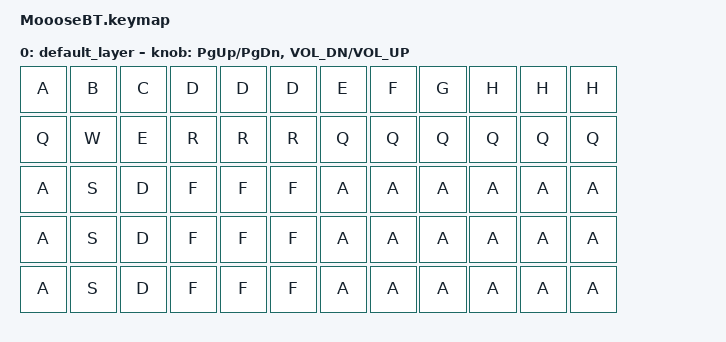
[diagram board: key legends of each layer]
#include <behaviors.dtsi>
#include <dt-bindings/zmk/bt.h>
#include <dt-bindings/zmk/keys.h>
#include <dt-bindings/zmk/mouse.h>
#include <behaviors/rgbled_widget.dtsi>

// Leyer
// #define ARROW 1
// #define NUM 2
// #define FUNCTION 3
// #define AHK 4
// #define SCROLL 5
// #define layer_6 6

// Japanese
#define JP_MINUS MINUS        // -
#define JP_CARET EQUAL        // ^
#define JP_YEN   INT3         // ¥
#define JP_AT    LBKT         // @
#define JP_LBKT  RBKT         // [
#define JP_EISU  CAPS         // Eisū (英数)
#define JP_SEMI  SEMI         // ;
#define JP_COLON SQT          // :
#define JP_RBKT  NUHS         // ]
#define JP_COMMA COMMA        // ,
#define JP_DOT   DOT          // .
#define JP_SLASH SLASH        // /
#define JP_MHEN  INT5         // Muhenkan (無変換)
#define JP_HENK  INT4         // Henkan (変換)
#define JP_EXCL  LS(N1)       // !
#define JP_DQT   LS(N2)       // "
#define JP_HASH  LS(N3)       // #
#define JP_DLLR  LS(N4)       // $
#define JP_PRCNT LS(N5)       // %
#define JP_AMPS  LS(N6)       // &
#define JP_SQT   LS(N7)       // '
#define JP_LPAR  LS(N8)       // (
#define JP_RPAR  LS(N9)       // )
#define JP_EQUAL LS(JP_MINUS) // =
#define JP_TILDE LS(JP_CARET) // ~
#define JP_PIPE  LS(JP_YEN)   // |
#define JP_GRAVE LS(JP_AT)    // `
#define JP_LBRC  LS(JP_LBKT)  // {
#define JP_CAPS  LS(JP_EISU)  // Caps Lock
#define JP_PLUS  LS(JP_SEMI)  // +
#define JP_ASTRK LS(JP_COLON) // *
#define JP_RBRC  LS(JP_RBKT)  // }
#define JP_LT    LS(JP_COMMA) // <
#define JP_RT    LS(JP_DOT)   // >
#define JP_QMARK LS(JP_SLASH) // ?
#define JP_UNDER LS(JP_BSLH)  // _

/ {

    keymap {
        compatible = "zmk,keymap";

        default_layer {
            bindings = <
                &kp A   &kp B   &kp C   &kp D   &kp D   &kp D       &kp E   &kp F   &kp G   &kp H   &kp H   &kp H
                &kp Q   &kp W   &kp E   &kp R   &kp R   &kp R       &kp Q   &kp Q   &kp Q   &kp Q   &kp Q   &kp Q
                &kp A   &kp S   &kp D   &kp F   &kp F   &kp F       &kp A   &kp A   &kp A   &kp A   &kp A   &kp A
                &kp A   &kp S   &kp D   &kp F   &kp F   &kp F       &kp A   &kp A   &kp A   &kp A   &kp A   &kp A
                &kp A   &kp S   &kp D   &kp F   &kp F   &kp F       &kp A   &kp A   &kp A   &kp A   &kp A   &kp A
            >;
            sensor-bindings = <&inc_dec_kp PG_UP PG_DN &inc_dec_kp C_VOL_DN C_VOL_UP>;
        };
    };
};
